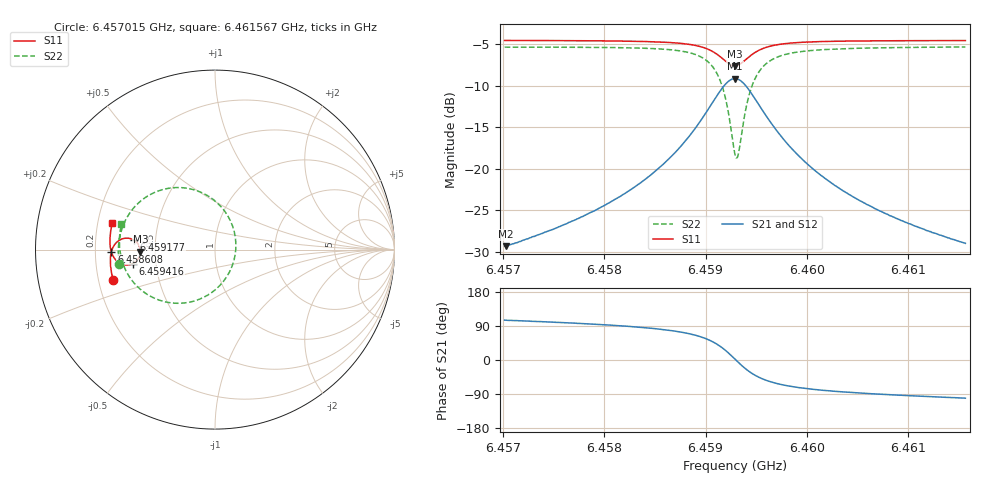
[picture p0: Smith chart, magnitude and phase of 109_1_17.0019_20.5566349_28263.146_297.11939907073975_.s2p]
#  HZ  S  RI  R  50.00
! Rohde & Schwarz Vector Network Analyzer
! Rohde-Schwarz,ZNB20-2Port,1311601062101988,3.16
! Created: UTC 3/20/2024, 10:56:57 PM
! freq[Hz]  re:S11  im:S11  re:S21  im:S21  re:S12  im:S12  re:S22  im:S22
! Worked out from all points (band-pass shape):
!   401 points, 6.457015 GHz to 6.461567 GHz, reference 50 ohm
!   highest |S21| = -9.15 dB at 6.459291 GHz (marker M1); lowest = -29.4 dB at 6.457026 GHz (marker M2)
!   |S21| within 3 dB of the highest: 6.459063 GHz to 6.459518 GHz (454.7 kHz wide, 0.00704 % of centre)
!   lowest |S11| = -7.6 dB at 6.459291 GHz (marker M3), VSWR 2.42, Z = 20.6 - j0.546 ohm
!   |S11| at or under -10 dB: nowhere
!   |S22| runs from -18.7 to -5.3 dB; largest |S21 - S12| = 0.014
!   S11 on the Smith chart (normalised r, x): 6.457015 GHz: 0.26, -0.14; 6.458608 GHz: 0.27, -0.01; 6.459177 GHz: 0.38, +0.05; 6.459416 GHz: 0.37, -0.07; 6.461567 GHz: 0.26, +0.12
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6.4570145e9  -0.5669 -0.1707  -0.00895 0.0329  -0.00706 0.0327  -0.5335 -0.081
6.4570259e9  -0.5671 -0.1697  -0.00883 0.0329  -0.00714 0.0329  -0.5336 -0.0798
6.4577771e9  -0.5806 -0.1038  -0.00567 0.0509  -0.00291 0.0503  -0.5383 0.00878
6.458221e9  -0.5833 -0.0589  0.00104 0.0719  0.00445 0.0705  -0.5286 0.0803
6.4585397e9  -0.5795 -0.0202  0.0146 0.0997  0.0185 0.0969  -0.5038 0.1537
6.458608e9  -0.5772 -0.0106  0.02 0.1082  0.024 0.1049  -0.4936 0.1739
6.4588014e9  -0.5645 0.0198  0.0468 0.1393  0.0509 0.1342  -0.4433 0.2431
6.4589494e9  -0.5414 0.0462  0.0926 0.17  0.0958 0.1633  -0.359 0.3075
6.459086e9  -0.4972 0.0637  0.1807 0.1865  0.1815 0.1792  -0.1982 0.3456
6.459177e9  -0.452 0.0531  0.2713 0.1548  0.2716 0.1489  -0.0308 0.2941
6.4592453e9  -0.4226 0.0205  0.3322 0.082  0.3344 0.0767  0.0847 0.1628
6.4592909e9  -0.4156 -0.0109  0.3487 0.0133  0.3524 0.00636  0.1163 0.0346
6.459325e9  -0.4197 -0.0349  0.3425 -0.0396  0.3464 -0.0486  0.1042 -0.0654
6.4593705e9  -0.4355 -0.0614  0.3135 -0.0998  0.3157 -0.1119  0.0454 -0.1789
6.4594161e9  -0.4578 -0.0778  0.271 -0.1412  0.2701 -0.1545  -0.0405 -0.2537
6.4595071e9  -0.5017 -0.0849  0.1853 -0.1721  0.1792 -0.1838  -0.2107 -0.2991
6.4596551e9  -0.546 -0.0645  0.0969 -0.1581  0.0883 -0.1643  -0.379 -0.2487
6.4598144e9  -0.5678 -0.0367  0.0516 -0.1298  0.0441 -0.1326  -0.4594 -0.1761
6.4600534e9  -0.5808 -0.00129  0.0224 -0.098  0.0166 -0.0986  -0.5072 -0.0935
6.4604176e9  -0.5854 0.0422  0.00576 -0.0696  0.00177 -0.0691  -0.5293 -0.01
6.460816e9  -0.5838 0.0821  -0.00135 -0.0521  -0.00424 -0.0514  -0.5328 0.0538
6.4615672e9  -0.5719 0.1488  -0.00662 -0.0348  -0.00822 -0.0339  -0.5217 0.143
